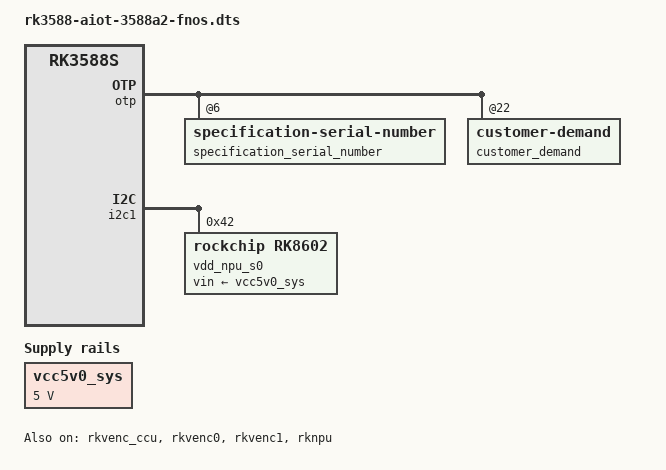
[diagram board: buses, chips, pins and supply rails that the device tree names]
// SPDX-License-Identifier: (GPL-2.0+ OR MIT)
#include "rk3588-aiot-3588a2.dts"

/* Use the Rockchip MPP bindings expected by the distribution kernel. */
/delete-node/ &vpu121;
/delete-node/ &vpu121_mmu;
/delete-node/ &vepu121_0;
/delete-node/ &vepu121_0_mmu;
/delete-node/ &vepu121_1;
/delete-node/ &vepu121_1_mmu;
/delete-node/ &vepu121_2;
/delete-node/ &vepu121_2_mmu;
/delete-node/ &vepu121_3;
/delete-node/ &vepu121_3_mmu;
/delete-node/ &vdec0;
/delete-node/ &vdec0_mmu;
/delete-node/ &vdec1;
/delete-node/ &vdec1_mmu;
/delete-node/ &av1d_mmu;

#include "rk3588s-vpu.dtsi"

/* Match the Mali CSF driver and clock/IRQ names shipped with fnOS. */
&gpu {
	compatible = "rockchip,rk3588-mali-csf", "arm,mali-valhall";
	clocks = <&scmi_clk SCMI_CLK_GPU>, <&cru CLK_GPU_COREGROUP>,
		 <&cru CLK_GPU_STACKS>, <&cru CLK_GPU>;
	clock-names = "clk_mali", "clk_gpu_coregroup", "clk_gpu_stacks", "clk_gpu";
	interrupts = <GIC_SPI 94 IRQ_TYPE_LEVEL_HIGH 0>,
		     <GIC_SPI 93 IRQ_TYPE_LEVEL_HIGH 0>,
		     <GIC_SPI 92 IRQ_TYPE_LEVEL_HIGH 0>;
	interrupt-names = "GPU", "MMU", "JOB";
	mem-supply = <&vdd_gpu_s0>;
	upthreshold = <60>;
	downdifferential = <30>;
	power-off-delay-ms = <200>;
};

&system_sram2 {
	/delete-node/ codec-sram@0;
	/delete-node/ codec-sram@78000;
};

&{/spi@feb20000/pmic@0/regulators} {
	vdd_vdenc_s0: dcdc-reg4 {
		regulator-name = "vdd_vdenc_s0";
		regulator-min-microvolt = <550000>;
		regulator-max-microvolt = <950000>;
		regulator-ramp-delay = <12500>;
		regulator-always-on;
		regulator-boot-on;
	};
};

&rkvenc_ccu {
	status = "okay";
};

&rkvenc0 {
	venc-supply = <&vdd_vdenc_s0>;
	mem-supply = <&vdd_vdenc_s0>;
	status = "okay";
};

&rkvenc0_mmu {
	status = "okay";
};

&rkvenc1 {
	venc-supply = <&vdd_vdenc_s0>;
	mem-supply = <&vdd_vdenc_s0>;
	status = "okay";
};

&rkvenc1_mmu {
	status = "okay";
};

&es8388 {
	/* This clock provider does not expose the separate GRF output gate. */
	clocks = <&cru I2S0_8CH_MCLKOUT>;
};

/* The distribution RKNPU driver exposes all three cores as one device. */
/delete-node/ &rknn_core_0;
/delete-node/ &rknn_core_1;
/delete-node/ &rknn_core_2;
/delete-node/ &rknn_mmu_0;
/delete-node/ &rknn_mmu_1;
/delete-node/ &rknn_mmu_2;

&otp {
	specification_serial_number: specification-serial-number@6 {
		reg = <0x06 0x1>;
		bits = <0 5>;
	};

	customer_demand: customer-demand@22 {
		reg = <0x22 0x1>;
		bits = <4 4>;
	};
};

#include "rk3588s-npu.dtsi"

/ {
	vcc5v0_sys: regulator-vcc5v0-sys {
		compatible = "regulator-fixed";
		regulator-name = "vcc5v0_sys";
		regulator-min-microvolt = <5000000>;
		regulator-max-microvolt = <5000000>;
		regulator-always-on;
	};
};

&i2c1 {
	pinctrl-0 = <&i2c1m2_xfer>;
	status = "okay";

	vdd_npu_s0: regulator@42 {
		compatible = "rockchip,rk8602";
		reg = <0x42>;
		fcs,suspend-voltage-selector = <1>;
		regulator-name = "vdd_npu_s0";
		regulator-min-microvolt = <550000>;
		regulator-max-microvolt = <950000>;
		regulator-ramp-delay = <2300>;
		regulator-boot-on;
		regulator-always-on;
		vin-supply = <&vcc5v0_sys>;

		regulator-state-mem {
			regulator-off-in-suspend;
		};
	};
};

&rknpu {
	rknpu-supply = <&vdd_npu_s0>;
	mem-supply = <&vdd_npu_s0>;
	status = "okay";
};

&rknpu_mmu {
	power-domains = <&power RK3588_PD_NPUTOP>;
	status = "okay";
};

/* Match the Rockchip RGA scheduler shipped with the distribution kernel. */
&rga3_core0 {
	compatible = "rockchip,rga3_core0";
	interrupt-names = "rga3_core0_irq";
	clock-names = "aclk_rga3_0", "hclk_rga3_0", "clk_rga3_0";
};

&rga3_core1 {
	compatible = "rockchip,rga3_core1";
	interrupt-names = "rga3_core1_irq";
	clock-names = "aclk_rga3_1", "hclk_rga3_1", "clk_rga3_1";
};

&rga {
	compatible = "rockchip,rga2_core0";
	interrupt-names = "rga2_irq";
	clock-names = "aclk_rga2", "hclk_rga2", "clk_rga2";
};
